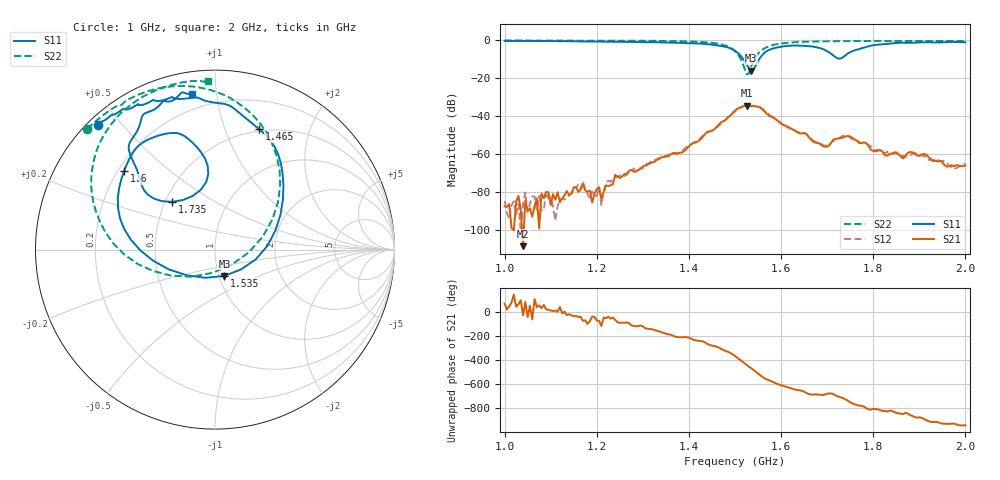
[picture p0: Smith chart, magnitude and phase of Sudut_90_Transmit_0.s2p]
# Hz S RI R 50
! CMT, C1220, 16058040, 17.2.0/1
! Date: 15/08/2018 09:01:28
! Data: Format (Calibration Info)
! Freq  S11: Re/Im (F2)  S21: Re/Im (F2)  S12: Re/Im (F2)  S22: Re/Im (F2)
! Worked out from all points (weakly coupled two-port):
!   201 points, 1 GHz to 2 GHz, reference 50 ohm
!   highest |S21| = -34.55 dB at 1.525 GHz (marker M1); lowest = -108.6 dB at 1.04 GHz (marker M2)
!   lowest |S11| = -16.2 dB at 1.535 GHz (marker M3), VSWR 1.37, Z = 53.1 - j15.9 ohm
!   |S11| at or under -10 dB: 1.518 GHz to 1.553 GHz (34.78 MHz wide, 2.27 % of centre)
!   |S22| runs from -18.0 to -0.2 dB; largest |S21 - S12| = 0.0009
!   S11 on the Smith chart (normalised r, x): 1 GHz: 0.03, +0.43; 1.465 GHz: 0.48, +1.32; 1.535 GHz: 1.06, -0.32; 1.6 GHz: 0.22, +0.35; 1.735 GHz: 0.54, +0.33; 2 GHz: 0.11, +0.86
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1e9  -0.6512 0.6949  1.52e-05 3.88e-05  -2.53e-05 5.19e-05  -0.7112 0.6715
1.04e9  -0.6275 0.7141  3.29e-06 -1.76e-06  2.44e-05 3.92e-05  -0.6809 0.7004
1.145e9  -0.5059 0.7825  7.99e-05 -4.12e-05  7.23e-05 -5.56e-05  -0.5872 0.7752
1.17e9  -0.464 0.7899  4.19e-05 -0.000151  0.000113 -0.000158  -0.5592 0.7933
1.18e9  -0.4419 0.8025  -1.79e-05 -9.97e-05  2.22e-05 -8.47e-05  -0.5482 0.7988
1.215e9  -0.4188 0.8043  6.67e-05 -7.16e-05  9.04e-05 -4.59e-05  -0.5152 0.8122
1.24e9  -0.36 0.8247  0.000113 -0.000258  0.000109 -0.000219  -0.4857 0.8349
1.335e9  -0.2169 0.8406  -0.000685 -0.000234  -0.000754 -0.000208  -0.3268 0.8952
1.385e9  -0.0771 0.8383  -0.000925 0.000577  -0.00107 0.000574  -0.202 0.9117
1.465e9  0.2474 0.67  0.00271 0.0053  0.00285 0.00473  0.1859 0.7722
1.5e9  0.3813 0.3574  0.0138 -0.00155  0.0129 -0.00148  0.3632 0.3576
1.525e9  0.228 -0.0536  0.00286 -0.0185  0.00307 -0.0186  0.0922 -0.0847
1.535e9  0.0528 -0.1463  -0.00575 -0.0174  -0.00585 -0.0175  -0.1298 -0.1512
1.565e9  -0.4689 0.0554  -0.0124 0.00318  -0.0132 0.00317  -0.6089 0.0937
1.6e9  -0.5069 0.4363  -0.00204 0.00596  -0.00193 0.00617  -0.6855 0.4392
1.67e9  -0.1917 0.6435  0.00177 0.00112  0.0019 0.00121  -0.5518 0.7305
1.695e9  -0.0783 0.5434  0.00132 0.000827  0.00138 0.000898  -0.5048 0.7782
1.735e9  -0.2402 0.2661  0.00272 9.27e-05  0.00305 -4.1e-05  -0.4306 0.8332
1.835e9  -0.4241 0.6808  -0.000205 -0.000971  -0.00034 -0.000936  -0.2746 0.9076
1.905e9  -0.2951 0.8211  -0.000882 -0.000294  -0.00097 -0.000136  -0.1702 0.9334
1.975e9  -0.1779 0.8763  -0.000413 0.000229  -0.000324 0.000218  -0.0672 0.9358
2e9  -0.1274 0.8693  -0.00036 0.000335  -0.000364 0.000411  -0.0396 0.9418
